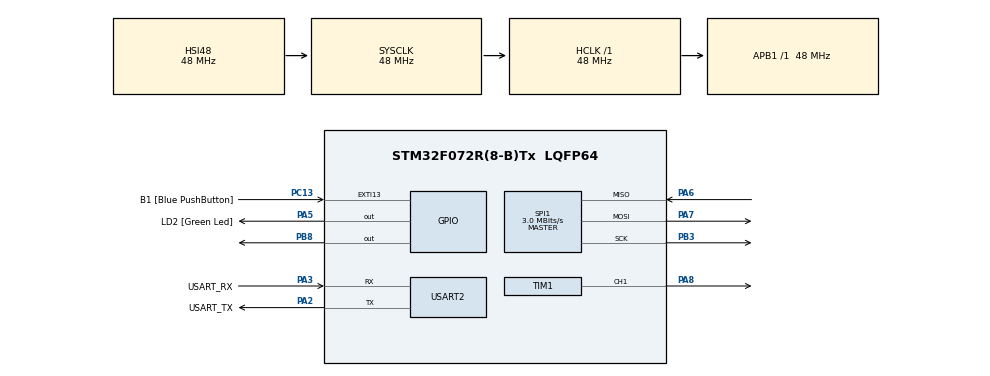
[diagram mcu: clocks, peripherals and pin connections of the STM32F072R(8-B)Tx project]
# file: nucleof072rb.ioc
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Mcu.Family=STM32F0
Mcu.Name=STM32F072R(8-B)Tx
Mcu.Package=LQFP64
PA13.GPIO_Label=TMS
PA13.Mode=Serial_Wire
PA13.Signal=SYS_SWDIO
PA14.GPIO_Label=TCK
PA14.Mode=Serial_Wire
PA14.Signal=SYS_SWCLK
PA2.GPIO_Label=USART_TX
PA2.GPIO_Mode=GPIO_MODE_AF_PP
PA2.GPIO_PuPd=GPIO_NOPULL
PA2.GPIO_Speed=GPIO_SPEED_FREQ_LOW
PA2.Mode=Asynchronous
PA2.Signal=USART2_TX
PA3.GPIO_Label=USART_RX
PA3.GPIO_Mode=GPIO_MODE_AF_PP
PA3.GPIO_PuPd=GPIO_NOPULL
PA3.GPIO_Speed=GPIO_SPEED_FREQ_LOW
PA3.Mode=Asynchronous
PA3.Signal=USART2_RX
PA5.GPIO_Label=LD2 [Green Led]
PA5.GPIO_Mode=GPIO_MODE_OUTPUT_PP
PA5.GPIO_PuPd=GPIO_NOPULL
PA5.GPIO_Speed=GPIO_SPEED_FREQ_LOW
PA5.Signal=GPIO_Output
PA6.Mode=Full_Duplex_Master
PA6.Signal=SPI1_MISO
PA7.Mode=Full_Duplex_Master
PA7.Signal=SPI1_MOSI
PA8.Signal=S_TIM1_CH1
PB3.Mode=Full_Duplex_Master
PB3.Signal=SPI1_SCK
PB8.Signal=GPIO_Output
PC13.GPIO_Label=B1 [Blue PushButton]
PC13.GPIO_ModeDefaultEXTI=GPIO_MODE_IT_FALLING
PC13.Signal=GPXTI13
PC14-OSC32_IN.Mode=LSE-External-Oscillator
PC14-OSC32_IN.Signal=RCC_OSC32_IN
PC15-OSC32_OUT.Mode=LSE-External-Oscillator
PC15-OSC32_OUT.Signal=RCC_OSC32_OUT
PF0-OSC_IN.Mode=HSE-External-Clock-Source
PF0-OSC_IN.Signal=RCC_OSC_IN
PF1-OSC_OUT.Signal=RCC_OSC_OUT
ProjectManager.HeapSize=0x200
ProjectManager.StackSize=0x400
ProjectManager.TargetToolchain=STM32CubeIDE
RCC.AHBFreq_Value=48000000
RCC.APB1Freq_Value=48000000
RCC.APB1TimFreq_Value=48000000
RCC.FLatency-AdvancedSettings=FLASH_LATENCY_1
RCC.HCLKFreq_Value=48000000
RCC.PLLDivider=RCC_PREDIV_DIV2
RCC.PLLMUL=RCC_PLL_MUL12
RCC.PREFETCH_ENABLE-AdvancedSettings=1
RCC.SYSCLKFreq_VALUE=48000000
RCC.SYSCLKSource=RCC_SYSCLKSOURCE_HSI48
SH.S_TIM1_CH1.0=TIM1_CH1,PWM Generation1 CH1
SPI1.BaudRatePrescaler=SPI_BAUDRATEPRESCALER_16
SPI1.CalculateBaudRate=3.0 MBits/s
SPI1.Direction=SPI_DIRECTION_2LINES
SPI1.Mode=SPI_MODE_MASTER
SPI1.VirtualType=VM_MASTER
TIM1.Channel-PWM\ Generation1\ CH1=TIM_CHANNEL_1
TIM1.Prescaler=14
TIM1.Pulse-PWM\ Generation1\ CH1=0
USART2.VirtualMode=VM_ASYNC
USART2.VirtualMode-Asynchronous=VM_ASYNC
VP_TIM1_VS_ClockSourceINT.Mode=Internal
board=NUCLEO-F072RB

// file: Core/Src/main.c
/* USER CODE BEGIN Header */
/**
  ******************************************************************************
  * @file           : main.c
  * @brief          : Main program body
  ******************************************************************************
  * @attention
  *
  * <h2><center>&copy; Copyright (c) 2021 STMicroelectronics.
  * All rights reserved.</center></h2>
  *
  * This software component is licensed by ST under BSD 3-Clause license,
  * the "License"; You may not use this file except in compliance with the
  * License. You may obtain a copy of the License at:
  *                        opensource.org/licenses/BSD-3-Clause
  *
  ******************************************************************************
  */
/* USER CODE END Header */
#include "main.h"
#include "spi.h"
#include "tim.h"
#include "usart.h"
#include "gpio.h"

void SystemClock_Config(void);

int main(void)
{

  /* MCU Configuration--------------------------------------------------------*/

  /* Reset of all peripherals, Initializes the Flash interface and the Systick. */
  HAL_Init();

  /* Configure the system clock */
  SystemClock_Config();

  /* Initialize all configured peripherals */
  MX_GPIO_Init();
  MX_USART2_UART_Init();
  MX_SPI1_Init();
  MX_TIM1_Init();
  /* USER CODE BEGIN 2 */
  uint8_t TxBuffer[3]={0x1, 0x80, 0x0};
  uint8_t RxBuffer[3]={0x00, 0x00, 0x00};
  uint8_t Size = 3;
  uint8_t Timeout = 100;
  uint16_t MAX_ADC_VALUE = 1023;
  uint16_t MAX_COUNTER = 64000;
  uint16_t MIN_TIMER_COUNT = 3200; // 5% of max counter
  uint16_t MAX_TIMER_COUNT = 6400; // 10% of max counter
  HAL_TIM_PWM_Start(&htim1, TIM_CHANNEL_1);

  /* USER CODE END 2 */

  /* Infinite loop */
  /* USER CODE BEGIN WHILE */
  while (1)
  {
    	  HAL_GPIO_WritePin(GPIOB, GPIO_PIN_8, GPIO_PIN_RESET);
	  HAL_SPI_TransmitReceive(&hspi1, TxBuffer, RxBuffer, Size, Timeout);
	  // Set CS line to high
	  HAL_GPIO_WritePin(GPIOB, GPIO_PIN_8, GPIO_PIN_SET);
	  uint16_t sigBits = ((RxBuffer[1] & 0x03) <<8 | RxBuffer[2]);
	  uint16_t pwm_count = ((float)sigBits/(float)MAX_ADC_VALUE)*(MAX_TIMER_COUNT-MIN_TIMER_COUNT)+MIN_TIMER_COUNT;
	  __HAL_TIM_SET_COMPARE(&tim1, TIM_CHANNEL_1, pwm_count);
	  HAL_Delay(10);
    /* USER CODE END WHILE */

    /* USER CODE BEGIN 3 */
  }
  HAL_TIM_PWM_Stop(&htim1, TIM_CHANNEL_1);
}
  /* USER CODE END 3 */

void SystemClock_Config(void)
{
  RCC_OscInitTypeDef RCC_OscInitStruct = {0};
  RCC_ClkInitTypeDef RCC_ClkInitStruct = {0};
  RCC_PeriphCLKInitTypeDef PeriphClkInit = {0};

  /** Initializes the RCC Oscillators according to the specified parameters
  * in the RCC_OscInitTypeDef structure.
  */
  RCC_OscInitStruct.OscillatorType = RCC_OSCILLATORTYPE_HSI48;
  RCC_OscInitStruct.HSI48State = RCC_HSI48_ON;
  RCC_OscInitStruct.PLL.PLLState = RCC_PLL_NONE;
  if (HAL_RCC_OscConfig(&RCC_OscInitStruct) != HAL_OK)
  {
    Error_Handler();
  }

  /** Initializes the CPU, AHB and APB buses clocks
  */
  RCC_ClkInitStruct.ClockType = RCC_CLOCKTYPE_HCLK|RCC_CLOCKTYPE_SYSCLK
                              |RCC_CLOCKTYPE_PCLK1;
  RCC_ClkInitStruct.SYSCLKSource = RCC_SYSCLKSOURCE_HSI48;
  RCC_ClkInitStruct.AHBCLKDivider = RCC_SYSCLK_DIV1;
  RCC_ClkInitStruct.APB1CLKDivider = RCC_HCLK_DIV1;

  if (HAL_RCC_ClockConfig(&RCC_ClkInitStruct, FLASH_LATENCY_1) != HAL_OK)
  {
    Error_Handler();
  }
  PeriphClkInit.PeriphClockSelection = RCC_PERIPHCLK_USART2;
  PeriphClkInit.Usart2ClockSelection = RCC_USART2CLKSOURCE_PCLK1;
  if (HAL_RCCEx_PeriphCLKConfig(&PeriphClkInit) != HAL_OK)
  {
    Error_Handler();
  }
}

void Error_Handler(void)
{
  __disable_irq();
  while (1)
  {
  }
}
